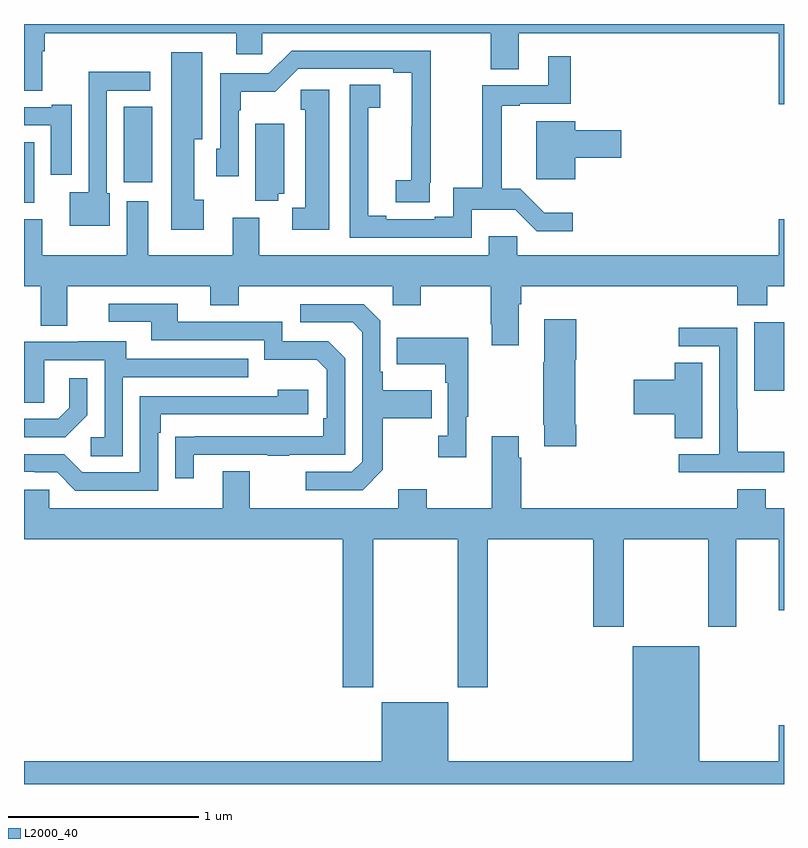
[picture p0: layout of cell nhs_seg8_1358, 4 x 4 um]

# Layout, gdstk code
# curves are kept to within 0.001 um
import gdstk
lib = gdstk.Library(unit=1e-6, precision=1e-09)
def R(c, l, rs):  # rectangles x0, y0, x1, y1
    for r in rs: c.add(gdstk.rectangle(r[:2], r[2:], *l))
def P(c, l, *ps):  # polygons
    for p in ps: c.add(gdstk.Polygon(p, *l))
L2000_40 = (2000, 40)

nhs_seg8_1358 = lib.new_cell('nhs_seg8_1358')
R(nhs_seg8_1358, L2000_40, [(200.843,1095.969,201,1096.33), (197,1096.958,197.053,1097.278), (197.525,1097.067,197.674,1097.465)])
P(nhs_seg8_1358, L2000_40, [(201,1097.9),(197,1097.9),(197,1097.548),(197.095,1097.548),(197.095,1097.756),(197.108,1097.756),(197.108,1097.852),(198.116,1097.852),(198.116,1097.742),(198.255,1097.742),(198.255,1097.852),(199.456,1097.852),(199.456,1097.662),(199.603,1097.662),(199.603,1097.852),(200.972,1097.852),(200.972,1097.478),(201,1097.478)],
  [(199.136,1097.065),(199.142,1097.065),(199.142,1097.76),(198.408,1097.76),(198.288,1097.64),(198.033,1097.64),(198.033,1097.244),(198.012,1097.244),(198.012,1097.1),(198.129,1097.1),(198.129,1097.447),(198.142,1097.447),(198.142,1097.543),(198.323,1097.543),(198.444,1097.664),(198.944,1097.664),(198.944,1097.644),(199.04,1097.644),(199.039,1097.078),(198.957,1097.078),(198.957,1096.963),(199.136,1096.963)],
  [(197.947,1096.974),(197.896,1096.974),(197.896,1097.294),(197.938,1097.294),(197.938,1097.752),(197.774,1097.752),(197.774,1096.818),(197.947,1096.818)],
  [(199.356,1096.922),(199.585,1096.922),(199.698,1096.809),(199.888,1096.809),(199.888,1096.906),(199.739,1096.906),(199.613,1097.032),(199.514,1097.032),(199.514,1097.469),(199.609,1097.469),(199.609,1097.481),(199.877,1097.481),(199.877,1097.731),(199.76,1097.731),(199.76,1097.577),(199.411,1097.577),(199.411,1097.039),(199.26,1097.039),(199.26,1096.886),(199.163,1096.886),(199.163,1096.872),(198.907,1096.872),(198.907,1096.892),(198.811,1096.892),(198.811,1097.155),(198.813,1097.155),(198.813,1097.459),(198.874,1097.459),(198.874,1097.579),(198.714,1097.579),(198.714,1096.776),(199.356,1096.776)],
  [(197.452,1097.01),(197.436,1097.01),(197.436,1097.55),(197.665,1097.55),(197.665,1097.648),(197.34,1097.648),(197.34,1097.014),(197.24,1097.014),(197.24,1096.838),(197.452,1096.838)],
  [(198.607,1097.554),(198.457,1097.554),(198.457,1097.448),(198.479,1097.448),(198.479,1096.932),(198.411,1096.932),(198.411,1096.817),(198.607,1096.817)],
  [(197.251,1097.476),(197.147,1097.476),(197.147,1097.463),(197,1097.463),(197,1097.367),(197.141,1097.367),(197.141,1097.106),(197.251,1097.106)],
  [(199.9,1097.195),(200.143,1097.195),(200.143,1097.342),(199.9,1097.342),(199.9,1097.389),(199.697,1097.389),(199.697,1097.084),(199.9,1097.084)],
  [(198.338,1097.006),(198.37,1097.006),(198.37,1097.374),(198.218,1097.374),(198.218,1096.969),(198.338,1096.969)],
  [(199.603,1096.424),(199.616,1096.424),(199.616,1096.52),(200.753,1096.52),(200.753,1096.421),(200.913,1096.421),(200.913,1096.52),(201,1096.52),(201,1096.873),(200.972,1096.873),(200.972,1096.684),(199.597,1096.684),(199.597,1096.782),(199.445,1096.782),(199.445,1096.684),(198.238,1096.684),(198.238,1096.879),(198.098,1096.879),(198.098,1096.684),(197.653,1096.684),(197.653,1096.966),(197.54,1096.966),(197.54,1096.684),(197.095,1096.684),(197.095,1096.873),(197,1096.873),(197,1096.52),(197.087,1096.52),(197.087,1096.312),(197.227,1096.312),(197.227,1096.52),(197.981,1096.52),(197.981,1096.421),(198.129,1096.421),(198.129,1096.52),(198.942,1096.52),(198.942,1096.421),(199.089,1096.421),(199.089,1096.52),(199.456,1096.52),(199.456,1096.321),(199.463,1096.321),(199.463,1096.209),(199.603,1096.209)],
  [(197.893,1095.633),(198.283,1095.633),(198.283,1095.628),(198.395,1095.628),(198.395,1095.633),(198.69,1095.633),(198.69,1096.14),(198.6,1096.23),(198.36,1096.23),(198.36,1096.332),(197.809,1096.332),(197.809,1096.428),(197.445,1096.428),(197.445,1096.332),(197.669,1096.332),(197.669,1096.236),(198.264,1096.236),(198.264,1096.133),(198.541,1096.133),(198.594,1096.08),(198.594,1095.826),(198.574,1095.826),(198.574,1095.729),(197.797,1095.728),(197.797,1095.51),(197.893,1095.51)],
  [(198.889,1095.553),(198.889,1095.826),(199.145,1095.826),(199.145,1095.973),(198.889,1095.973),(198.889,1096.069),(198.876,1096.069),(198.876,1096.338),(198.789,1096.425),(198.453,1096.425),(198.453,1096.329),(198.729,1096.329),(198.78,1096.278),(198.78,1095.597),(198.726,1095.543),(198.483,1095.543),(198.483,1095.447),(198.783,1095.447)],
  [(199.907,1095.79),(199.902,1095.79),(199.902,1096.132),(199.907,1096.132),(199.907,1096.345),(199.739,1096.345),(199.739,1096.121),(199.732,1096.121),(199.732,1095.79),(199.739,1095.79),(199.739,1095.678),(199.907,1095.678)],
  [(201,1095.649),(200.757,1095.649),(200.757,1095.872),(200.754,1095.872),(200.754,1096.302),(200.445,1096.302),(200.445,1096.203),(200.658,1096.203),(200.658,1095.636),(200.445,1095.636),(200.445,1095.54),(201,1095.54)],
  [(199.327,1095.833),(199.339,1095.833),(199.339,1096.249),(198.961,1096.249),(198.961,1096.109),(199.218,1096.109),(199.218,1096.013),(199.23,1096.013),(199.23,1095.734),(199.179,1095.734),(199.179,1095.621),(199.327,1095.621)],
  [(197.52,1096.041),(198.179,1096.041),(198.179,1096.137),(197.539,1096.137),(197.539,1096.231),(197.285,1096.231),(197.285,1096.227),(197,1096.227),(197,1095.907),(197.106,1095.907),(197.106,1096.131),(197.424,1096.131),(197.424,1095.726),(197.352,1095.726),(197.352,1095.625),(197.52,1095.625)],
  [(200.569,1096.118),(200.426,1096.118),(200.426,1096.028),(200.208,1096.028),(200.208,1095.845),(200.426,1095.845),(200.426,1095.721),(200.569,1095.721)],
  [(197.334,1095.842),(197.334,1096.036),(197.237,1096.036),(197.237,1095.879),(197.18,1095.822),(197,1095.822),(197,1095.726),(197.218,1095.726)],
  [(197.706,1095.749),(197.719,1095.749),(197.719,1095.846),(198.496,1095.846),(198.496,1095.976),(198.335,1095.976),(198.335,1095.942),(197.61,1095.942),(197.61,1095.54),(197.307,1095.54),(197.211,1095.636),(197,1095.636),(197,1095.543),(197.057,1095.543),(197.057,1095.54),(197.175,1095.54),(197.271,1095.444),(197.706,1095.444)],
  [(200.905,1095.451),(200.753,1095.451),(200.753,1095.352),(199.616,1095.352),(199.616,1095.617),(199.603,1095.617),(199.603,1095.73),(199.463,1095.73),(199.463,1095.352),(199.119,1095.352),(199.119,1095.451),(198.971,1095.451),(198.971,1095.352),(198.187,1095.352),(198.187,1095.547),(198.047,1095.547),(198.047,1095.352),(197.133,1095.352),(197.133,1095.45),(197,1095.45),(197,1095.188),(198.677,1095.188),(198.677,1094.409),(198.837,1094.409),(198.837,1095.188),(199.282,1095.188),(199.282,1094.409),(199.442,1094.409),(199.442,1095.188),(199.997,1095.188),(199.997,1094.727),(200.157,1094.727),(200.157,1095.188),(200.602,1095.188),(200.602,1094.727),(200.749,1094.727),(200.749,1095.188),(200.972,1095.188),(200.972,1094.814),(201,1094.814),(201,1095.352),(200.905,1095.352)],
  [(201,1094.209),(200.972,1094.209),(200.972,1094.02),(200.554,1094.02),(200.554,1094.626),(200.204,1094.626),(200.204,1094.02),(199.234,1094.02),(199.234,1094.329),(198.884,1094.329),(198.884,1094.02),(197,1094.02),(197,1093.9),(201,1093.9)])

lib.write_gds('nhs_seg8_1358.gds')
